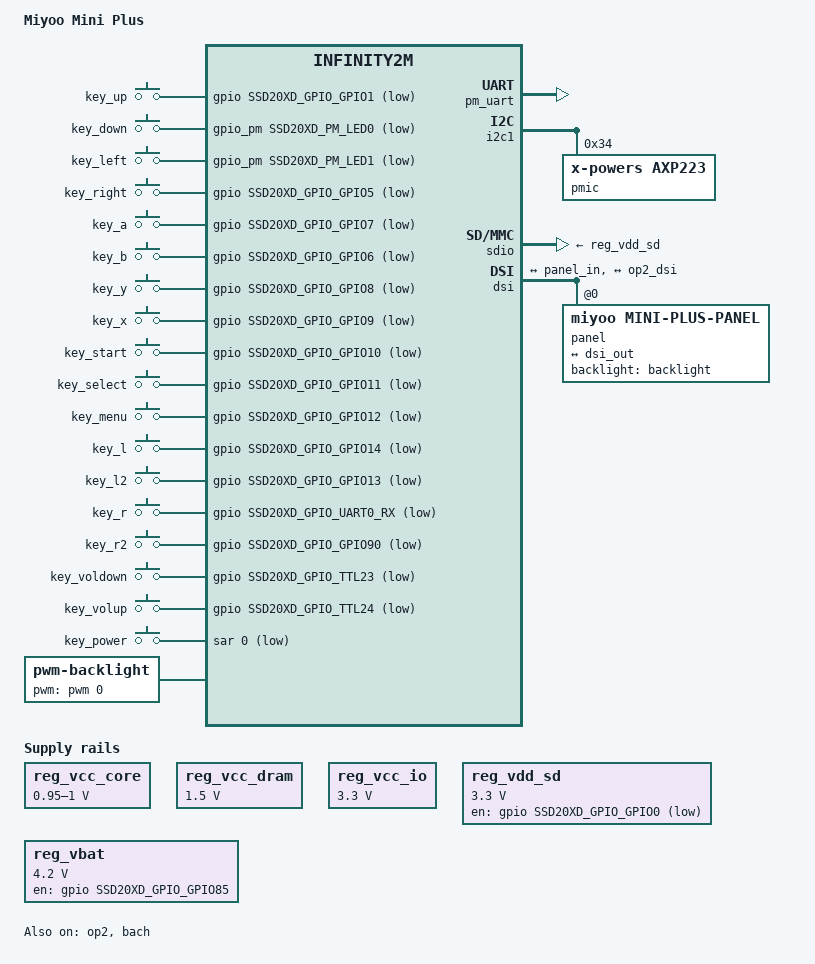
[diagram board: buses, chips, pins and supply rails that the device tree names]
// SPDX-License-Identifier: GPL-2.0-or-later
/*
 * Copyright (c) 2021 thingy.jp.
 * Author: Daniel Palmer <daniel@thingy.jp>
 *
 * Miyoo Mini Plus, derived from the Miyoo Mini board file. Pads come from
 * the vendor kernel's GPIO number table; levels and directions were read
 * from a running unit. See the notes next to each difference.
 */

/dts-v1/;
#include "mstar-infinity2m-ssd202d.dtsi"

/ {
	model = "Miyoo Mini Plus";
	compatible = "miyoo,miyoo-mini-plus", "mstar,infinity2m";

	aliases {
		serial0 = &pm_uart;
	};

	chosen {
		stdout-path = "serial0:38400n8";
		bootargs = "console=ttyS0,115200 clk_ignore_unused earlyprintk root=/dev/mmcblk0p2 ro rootfstype=squashfs rootwait";
	};

	/*
	 * Vendor GPIO numbers in the comments. Every key was pressed on a
	 * real unit while its pad level was read: all are active low, and
	 * only the volume keys (TTL23/TTL24) and the power key (SAR0) differ
	 * from the Mini.
	 */
	gpio-keys {
		compatible = "gpio-keys-polled";
		poll-interval = <10>;

		key_up {	/* 1 */
			label = "key_up";
			gpios = <&gpio SSD20XD_GPIO_GPIO1 GPIO_ACTIVE_LOW>;
			linux,code = <103>; /* KEY_UP */
		};

		key_down {	/* 69 */
			label = "key_down";
			gpios = <&gpio_pm SSD20XD_PM_LED0 GPIO_ACTIVE_LOW>;
			linux,code = <108>; /* KEY_DOWN */
		};

		key_left {	/* 70 */
			label = "key_left";
			gpios = <&gpio_pm SSD20XD_PM_LED1 GPIO_ACTIVE_LOW>;
			linux,code = <105>; /* KEY_LEFT */
		};

		key_right {	/* 5 */
			label = "key_right";
			gpios = <&gpio SSD20XD_GPIO_GPIO5 GPIO_ACTIVE_LOW>;
			linux,code = <106>; /* KEY_RIGHT */
		};

		key_a {		/* 7 */
			label = "key_a";
			gpios = <&gpio SSD20XD_GPIO_GPIO7 GPIO_ACTIVE_LOW>;
			linux,code = <30>; /* KEY_A */
		};

		key_b {		/* 6 */
			label = "key_b";
			gpios = <&gpio SSD20XD_GPIO_GPIO6 GPIO_ACTIVE_LOW>;
			linux,code = <48>; /* KEY_B */
		};

		key_y {		/* 8 */
			label = "key_y";
			gpios = <&gpio SSD20XD_GPIO_GPIO8 GPIO_ACTIVE_LOW>;
			linux,code = <21>; /* KEY_Y */
		};

		key_x {		/* 9 */
			label = "key_x";
			gpios = <&gpio SSD20XD_GPIO_GPIO9 GPIO_ACTIVE_LOW>;
			linux,code = <45>; /* KEY_X */
		};

		key_start {	/* 10 */
			label = "key_start";
			gpios = <&gpio SSD20XD_GPIO_GPIO10 GPIO_ACTIVE_LOW>;
			linux,code = <28>; /* KEY_ENTER */
		};

		key_select {	/* 11 */
			label = "key_select";
			gpios = <&gpio SSD20XD_GPIO_GPIO11 GPIO_ACTIVE_LOW>;
			linux,code = <1>; /* KEY_ESC */
		};

		key_menu {	/* 12 */
			label = "key_menu";
			gpios = <&gpio SSD20XD_GPIO_GPIO12 GPIO_ACTIVE_LOW>;
			linux,code = <139>; /* KEY_MENU */
		};

		key_l {		/* 14 */
			label = "key_l";
			gpios = <&gpio SSD20XD_GPIO_GPIO14 GPIO_ACTIVE_LOW>;
			linux,code = <16>; /* KEY_Q */
		};

		key_l2 {	/* 13 */
			label = "key_l2";
			gpios = <&gpio SSD20XD_GPIO_GPIO13 GPIO_ACTIVE_LOW>;
			linux,code = <17>; /* KEY_W */
		};

		key_r {		/* 47 */
			label = "key_r";
			gpios = <&gpio SSD20XD_GPIO_UART0_RX GPIO_ACTIVE_LOW>;
			linux,code = <18>; /* KEY_E */
		};

		key_r2 {	/* 90 */
			label = "key_r2";
			gpios = <&gpio SSD20XD_GPIO_GPIO90 GPIO_ACTIVE_LOW>;
			linux,code = <19>; /* KEY_R */
		};

		key_voldown {	/* 42 */
			label = "key_voldown";
			gpios = <&gpio SSD20XD_GPIO_TTL23 GPIO_ACTIVE_LOW>;
			linux,code = <114>; /* KEY_VOLUMEDOWN */
		};

		key_volup {	/* 43 */
			label = "key_volup";
			gpios = <&gpio SSD20XD_GPIO_TTL24 GPIO_ACTIVE_LOW>;
			linux,code = <115>; /* KEY_VOLUMEUP */
		};

		key_power {	/* 71 */
			label = "key_power";
			gpios = <&sar 0 GPIO_ACTIVE_LOW>;
			linux,code = <116>; /* KEY_POWER */
		};
	};

	/* TODO: vibration motor pad not identified on the Plus yet. */

	reg_vcc_core: regulator-vcc-core {
		compatible = "regulator-gpio";
		regulator-name = "vcc_core";
		regulator-type = "voltage";
		regulator-min-microvolt = <950000>;
		regulator-max-microvolt = <1000000>;
		regulator-boot-on;
		regulator-ramp-delay = <12000>;
		gpios = <&sar 1 0>;
		states = <1000000 0x1
			  950000  0x0>;
	};

	reg_vcc_dram: regulator-vcc-dram {
		compatible = "regulator-fixed";
		regulator-name = "vcc_dram";
		regulator-min-microvolt = <1500000>;
		regulator-max-microvolt = <1500000>;
		regulator-boot-on;
	};

	reg_vcc_io: regulator-vcc-io {
		compatible = "regulator-fixed";
		regulator-name = "vcc_io";
		regulator-min-microvolt = <3300000>;
		regulator-max-microvolt = <3300000>;
		regulator-boot-on;
	};

	reg_vdd_sd: regulator-vdd-sd {
		compatible = "regulator-fixed";
		regulator-name = "sd_vdd";
		regulator-min-microvolt = <3300000>;
		regulator-max-microvolt = <3300000>;
		/*
		 * The card is powered by driving GPIO0 LOW (confirmed on hardware).
		 * regulator-fixed takes the enable polarity from this gpio flag, so
		 * it must be GPIO_ACTIVE_LOW - a plain 0 (active-high) would drive
		 * GPIO0 high and leave the card unpowered.
		 */
		gpio = <&gpio SSD20XD_GPIO_GPIO0 GPIO_ACTIVE_LOW>;
	};

	reg_vbat: regulator-vbat {
		compatible = "regulator-fixed";
		regulator-name = "vbat";
		regulator-min-microvolt = <4200000>;
		regulator-max-microvolt = <4200000>;
		gpio = <&gpio SSD20XD_GPIO_GPIO85 0>;
		enable-active-high;
		regulator-always-on;
	};

	backlight: backlight {
		compatible = "pwm-backlight";
		pwms = <&pwm 0 50000>;
		brightness-levels = <0 4 8 16 32 64 128 255>;
		/*
		 * TODO: only the top (max) level currently lights the panel - the
		 * LED-boost driver seems to want a different PWM frequency/response.
		 * Default to max (index 7 = 255) so the screen is visible until that
		 * is tuned properly.
		 */
		default-brightness-level = <7>;
		pinctrl-names = "default";
		pinctrl-0 = <&pwm0_mode3_pins>;
	};
};

&cpu0 {
	cpu-supply = <&reg_vcc_core>;
};

/*
 * The shared 4 MiB CMA pool is too small for the display: a double-buffered
 * 640x480 primary already needs ~2.4 MiB, and the DRM/KMS stack needs another
 * scan-out buffer to compensate for the upside-down panel (see DirectFB2's
 * drmkms layer). Give it comfortable headroom.
 */
&cma {
	size = <0x1000000>; /* 16 MiB */
};

&pm_uart {
	status = "okay";
};

&i2c1 {
	pinctrl-names = "default";
	pinctrl-0 = <&i2c1_mode1_pins>;
	status = "okay";

	/*
	 * Battery, charger and power rails. Its interrupt line is not known,
	 * so only the parts that work without it are enabled. There is
	 * deliberately no regulators node: Linux must not switch off rails
	 * the vendor u-boot set up.
	 */
	pmic: pmic@34 {
		compatible = "x-powers,axp223";
		reg = <0x34>;

		ac_power_supply: ac-power {
			compatible = "x-powers,axp221-ac-power-supply";
			status = "disabled";	/* needs the PMIC interrupt */
		};

		axp_adc: adc {
			compatible = "x-powers,axp221-adc";
			#io-channel-cells = <1>;
		};

		battery_power_supply: battery-power {
			compatible = "x-powers,axp221-battery-power-supply";
		};
	};

	/* 0x3d: ALPU copy-protection chip, same as on the Mini. No driver. */
};

&miu {
	ddr-supply = <&reg_vcc_dram>;
};

&sdio {
	vmmc-supply = <&reg_vdd_sd>;
	vqmmc-supply = <&reg_vcc_io>;
	/* The microSD slot has no write-protect switch; say so, otherwise the
	 * core warns "host does not support reading read-only switch". */
	disable-wp;
	status = "okay";
};

&op2 {
	//assigned-clocks = <&clkgen MSC313_CLKGEN_MUXES SSD20XD_CLKGEN_SC_PIXEL 0>,
	//		  <&sc_gp_ctrl_muxes SSD20XD_SC_GP_HDMI_GATE_MUX>;
	//assigned-clock-parents = <&clkgen MSC313_CLKGEN_DIVIDERS MSC313_CLKGEN_GATE_9 GATE9_DIVIDEBY_4>;
	//			 <&clkgen MSC313_CLKGEN_DEGLITCHES SSD20XD_CLKGEN_SC_PIXEL 0>;
	/* Route the CRTC to the DSI (port@1); the default is TTL (port@0), which
	 * has no panel wired so the driver's bind fails with -ENODEV. The driver
	 * reads this with of_property_read_u8, so it must be a byte (/bits/ 8) -
	 * a plain <1> cell reads back as 0 (its first big-endian byte) = TTL. */
	mstar,op2-output = /bits/ 8 <1>;
	status = "okay";
};

&op2_dsi {
	remote-endpoint = <&dsi_in>;
};

&dsi {
	status = "okay";
	panel@0 {
		/* Sitronix ST7703 based, initialised by the vendor u-boot */
		compatible = "miyoo,mini-plus-panel";
		reg = <0>;
		pinctrl-names = "default";
		pinctrl-0 = <&tx_mipi_mode1_pins>;
		backlight = <&backlight>;
		dsi-lanes = <2>;
		/*
		 * No rotation: u-boot's init sequence sets MADCTL 0xc0, which
		 * should already flip the image in the panel (unconfirmed).
		 */
		port {
			panel_in: endpoint {
				remote-endpoint = <&dsi_out>;
			};
		};
	};

	ports {
		port@0 {
			reg = <0>;
			dsi_out: endpoint {
				remote-endpoint = <&panel_in>;
			};
                };
                port@1 {
			reg = <1>;
			dsi_in: endpoint {
				remote-endpoint = <&op2_dsi>;
			};
		};
        };
};

/* On-chip BACH audio (codec + I2S), for the speaker/headphone output. */
&bach {
	status = "okay";
};
